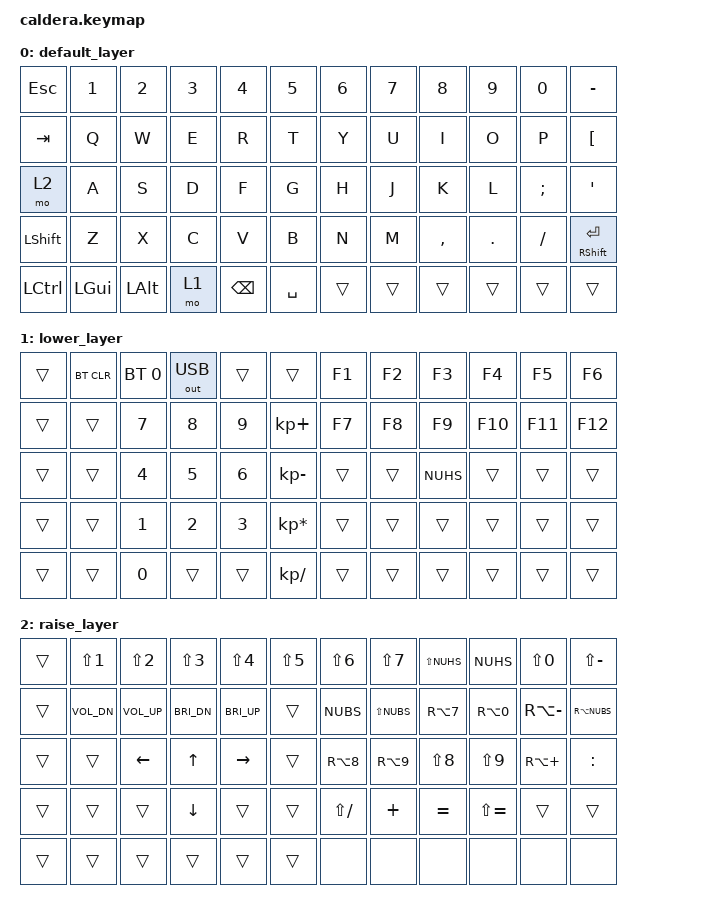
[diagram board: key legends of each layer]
#include <behaviors.dtsi>
#include <dt-bindings/zmk/keys.h>
#include <dt-bindings/zmk/bt.h>
#include <dt-bindings/zmk/outputs.h>

/ {
combos {
        compatible = "zmk,combos";

        combo_bspc {
            timeout-ms = <50>;
            key-positions = <31 32>; // J + K
            bindings = <&kp BSPC>;
        };
    };

        keymap {
                compatible = "zmk,keymap";

                default_layer {
// ---------------------------------------------------------------------------------
// |  ESC  |  1  |  2  |  3  |  4  |  5  |     |  6  |  7  |  8  |  9  |  0  |  ß   |
// |  TAB  |  Q  |  W  |  E  |  R  |  T  |     |  Y  |  U  |  I  |  O  |  P  |  Ü   |
// |  RSE  |  A  |  S  |  D  |  F  |  G  |     |  H  |  J  |  K  |  L  |  Ö  |  Ä   |
// |  SHFT |  Z  |  X  |  C  |  V  |  B  |     |  N  |  M  |  ,  |  .  |  -  | ENT/SHIFT  |
// |  CTRL | GUI | LALT| LWR | BKC | SPC |     | --- | --- | --- | --- | --- | ---  |
                        bindings = <
   &kp ESC   &kp N1     &kp N2     &kp N3      &kp N4      &kp N5          &kp N6 &kp N7      &kp N8      &kp N9     &kp N0        &kp MINUS
   &kp TAB   &kp Q      &kp W      &kp E       &kp R       &kp T           &kp Y  &kp U       &kp I       &kp O      &kp P         &kp LBKT
   &mo 2     &kp A      &kp S      &kp D       &kp F       &kp G           &kp H  &kp J       &kp K       &kp L      &kp SEMI      &kp SQT
   &kp LSHFT &kp Z      &kp X      &kp C       &kp V       &kp B           &kp N  &kp M       &kp COMMA   &kp DOT    &kp SLASH     &mt RSHFT RET
   &kp LCTRL &kp LGUI   &kp LALT   &mo 1       &kp BSPC    &kp SPACE       &trans &trans      &trans      &trans     &trans        &trans
                       >;
                };

                lower_layer {
// ---------------------------------------------------------------------------------
// | TRANS | BT_CLR | BT1 | OUT_USB |     |     |     | F1  | F2  | F3  | F4  | F5  | F6  |
// | TRANS |        |  7  |  8  |  9  |  +  |     | F7  | F8  | F9  | F10 | F11 | F12 |
// | TRANS |        |  4  |  5  |  6  |  -  |     |     |     |  '  |     |     |     |
// | TRANS |        |  1  |  2  |  3  |  *  |     |     |     |     |     |     |     |
// |       |        |  0  |     |     |  /  |     | --- | --- | --- | --- | --- | --- |
                        bindings = <
   &trans  &bt BT_CLR &bt BT_SEL 0 &out OUT_USB &trans      &trans          &kp F1    &kp F2    &kp F3      &kp F4    &kp F5      &kp F6
   &trans  &trans     &kp N7       &kp N8       &kp N9      &kp KP_PLUS     &kp F7    &kp F8    &kp F9      &kp F10   &kp F11     &kp F12
   &trans  &trans     &kp N4       &kp N5       &kp N6      &kp KP_MINUS    &trans    &trans    &kp NUHS    &trans    &trans      &trans
   &trans  &trans     &kp N1       &kp N2       &kp N3      &kp KP_MULTIPLY &trans    &trans    &trans      &trans    &trans      &trans
   &trans  &trans     &kp N0       &trans       &trans      &kp KP_DIVIDE   &trans    &trans    &trans      &trans    &trans      &trans
                        >;
                };

                raise_layer {
// ---------------------------------------------------------------------------------
// | TRANS |  !  |  "  |  §  |  $  |  %  |     |  &  |  /  |  '  |  #  |  =  |  ?  |
// | TRANS |     | C_VOL_DN   |  C_VOL_UP   | C_BRI_DN   | C_BRI_UP   |     |  <  |  >  |  {  |  }  |  \  |  |  |
// | TRANS |     | LFT | UP  | RGT |     |     |  [  |  ]  |  (  |  )  |  ~  |  Ä  |
// | TRANS |     |     | DWN |     |     |     |  _  |  +  |  ´  |  `  |     |     |
// |       |     |     |     |     |     |     | --- | --- | --- | --- | --- | --- |
            bindings = <
   &trans  &kp LS(N1)   &kp LS(N2)   &kp LS(N3)   &kp LS(N4)   &kp LS(N5)        &kp LS(N6)    &kp LS(N7)    &kp LS(NUHS)  &kp NUHS      &kp LS(N0)    &kp LS(MINUS)
   &trans  &kp C_VOL_DN &kp C_VOL_UP &kp C_BRI_DN &kp C_BRI_UP &trans            &kp NUBS      &kp LS(NUBS)  &kp RA(N7)    &kp RA(N0)    &kp RA(MINUS) &kp RA(NUBS)
   &trans  &trans       &kp LEFT     &kp UP       &kp RIGHT    &trans            &kp RA(N8)    &kp RA(N9)    &kp LS(N8)    &kp LS(N9)    &kp RA(PLUS)  &kp COLON
   &trans  &trans       &trans       &kp DOWN     &trans       &trans            &kp LS(SLASH) &kp PLUS      &kp EQUAL     &kp LS(EQUAL) &trans        &trans
   &trans  &trans       &trans       &trans       &trans       &trans            &none         &none         &none         &none         &none         &none
            >;
        };
    };
};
